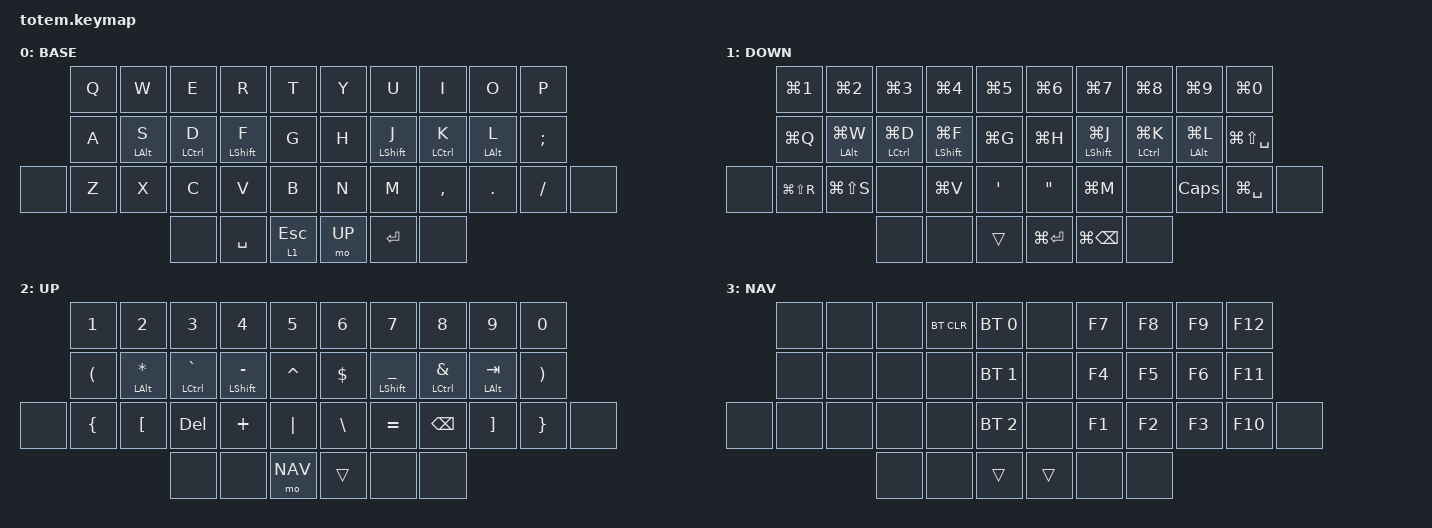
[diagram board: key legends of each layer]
//
//                                                        ▀▀▀▀▀     ▀▀▀▀▀          ▀▀█▀▀
//                                                        ▄▀▀▀▄  ▄  ▄▀▀▀▄  ▄  ▄▀▀▀▄  █  ▄▀▀▀▄
//                                                        █   █  █  █   █  █  █   █  █  █   █
//                                                         ▀▀▀   █   ▀▀▀   █   ▀▀▀   ▀   ▀▀▀
//                                                               █      ▄▄▄█▄▄▄    █   █  
//                                                               ▀      █  █  █     █▄█
//                                                             ▀▀▀▀▀    █  █  █      ▀
//                                                                      ▀  ▀  ▀
//
// ▄▄▄▄▄▄▄▄▄▄▄▄▄▄▄▄▄▄▄▄▄▄▄▄▄▄▄▄▄▄▄▄▄▄▄▄▄▄▄▄▄▄▄▄▄▄▄▄▄▄▄▄▄▄▄▄▄▄▄▄▄▄▄▄▄▄▄▄▄▄▄▄▄▄▄▄▄▄▄▄▄▄▄▄▄▄▄▄▄▄▄▄▄▄▄▄▄▄▄▄▄▄▄▄▄▄▄▄▄▄▄▄▄▄▄▄▄▄▄▄▄▄▄▄▄▄▄▄▄▄▄▄▄▄▄▄▄▄▄▄▄▄▄▄▄▄▄▄▄

#include <behaviors.dtsi>
#include <dt-bindings/zmk/bt.h>
#include <dt-bindings/zmk/keys.h>

#define BASE 0
#define DOWN 1
#define UP   2
#define NAV  3

&mt {
    quick-tap-ms = <100>;
    global-quick-tap;
    flavor = "tap-preferred";
    tapping-term-ms = <170>;
};

/ {
    //     combos {
    //            compatible = "zmk,combos";
    //            combo_esc {
    //                timeout-ms = <50>;
    //                key-positions = <0 1>;
    //                bindings = <&kp ESC>;
    //            };
    //    };

    keymap {
        compatible = "zmk,keymap";

        // ▄▄▄▄▄▄▄▄▄▄▄▄▄▄▄▄▄▄▄▄▄▄▄▄▄▄▄▄▄▄▄▄▄▄▄▄▄▄▄▄▄▄▄▄▄▄▄▄▄▄▄▄▄▄▄▄▄▄▄▄▄▄▄▄▄▄▄▄▄▄▄▄▄▄▄▄▄▄▄▄▄▄▄▄▄▄▄▄▄▄▄▄▄▄▄▄▄▄▄▄▄▄▄▄▄▄▄▄▄▄▄▄▄▄▄▄▄▄▄▄▄▄▄▄▄▄▄▄▄▄▄▄▄▄▄▄▄▄▄▄▄▄▄▄▄▄▄▄▄

        base_layer {
            // ┏━━━━━━━━━━━━━━━━━━━━━━━━━━━━━━━━━━━━━━━┓

            label = "BASE";

            // ┗━━━━━━━━━━━━━━━━━━━━━━━━━━━━━━━━━━━━━━━┛
            //             ┏━━━━━━━━━━━┳━━━━━━━━━━━┳━━━━━━━━━━━┳━━━━━━━━━━━┳━━━━━━━━━━━┓   ┏━━━━━━━━━━━┳━━━━━━━━━━━┳━━━━━━━━━━━┳━━━━━━━━━━━┳━━━━━━━━━━━┓
            //             ┃     Q     ┃     W     ┃     E     ┃     R     ┃     T     ┃   ┃     Y     ┃     U     ┃     I     ┃     O     ┃     P     ┃
            //             ┣━━━━━━━━━━━╋━━━━━━━━━━━╋━━━━━━━━━━━╋━━━━━━━━━━━╋━━━━━━━━━━━┫   ┣━━━━━━━━━━━╋━━━━━━━━━━━╋━━━━━━━━━━━╋━━━━━━━━━━━╋━━━━━━━━━━━┫
            //             ┃     A     ┃     S     ┃     D     ┃     F     ┃     G     ┃   ┃     H     ┃     J     ┃     K     ┃     L     ┃     ;     ┃
            // ┏━━━━━━━━━━━╋━━━━━━━━━━━╋━━━━━━━━━━━╋━━━━━━━━━━━╋━━━━━━━━━━━╋━━━━━━━━━━━┫   ┣━━━━━━━━━━━╋━━━━━━━━━━━╋━━━━━━━━━━━╋━━━━━━━━━━━╋━━━━━━━━━━━╋━━━━━━━━━━━┓
            // ┃           ┃     Z     ┃     X     ┃     C     ┃     V     ┃     B     ┃   ┃     N     ┃     M     ┃     ,     ┃     .     ┃     /     ┃           ┃
            // ┗━━━━━━━━━━━┻━━━━━━━━━━━┻━━━━━━━━━━━╋━━━━━━━━━━━╋━━━━━━━━━━━╋━━━━━━━━━━━┫   ┣━━━━━━━━━━━╋━━━━━━━━━━━╋━━━━━━━━━━━╋━━━━━━━━━━━┻━━━━━━━━━━━┻━━━━━━━━━━━┛
            //                                     ┃    ESC    ┃   SPACE   ┃    DOWN   ┃   ┃     UP    ┃   ENTER   ┃           ┃
            //                                     ┗━━━━━━━━━━━┻━━━━━━━━━━━┻━━━━━━━━━━━┛   ┗━━━━━━━━━━━┻━━━━━━━━━━━┻━━━━━━━━━━━┛

            bindings = <
       &kp Q  &kp W           &kp E        &kp R             &kp T        &kp Y   &kp U         &kp I        &kp O       &kp P
       &kp A  &mt LEFT_ALT S  &mt LCTRL D  &mt LEFT_SHIFT F  &kp G        &kp H   &mt LSHIFT J  &mt LCTRL K  &mt LALT L  &kp SEMI
&none  &kp Z  &kp X           &kp C        &kp V             &kp B        &kp N   &kp M         &kp COMMA    &kp DOT     &kp FSLH  &none
                              &none        &kp SPACE         &lt 1 ESC    &mo UP  &kp RET       &none
            >;
        };

        // ▄▄▄▄▄▄▄▄▄▄▄▄▄▄▄▄▄▄▄▄▄▄▄▄▄▄▄▄▄▄▄▄▄▄▄▄▄▄▄▄▄▄▄▄▄▄▄▄▄▄▄▄▄▄▄▄▄▄▄▄▄▄▄▄▄▄▄▄▄▄▄▄▄▄▄▄▄▄▄▄▄▄▄▄▄▄▄▄▄▄▄▄▄▄▄▄▄▄▄▄▄▄▄▄▄▄▄▄▄▄▄▄▄▄▄▄▄▄▄▄▄▄▄▄▄▄▄▄▄▄▄▄▄▄▄▄▄▄▄▄▄▄▄▄▄▄▄▄▄

        down_layer {
            // ┏━━━━━━━━━━━━━━━━━━━━━━━━━━━━━━━━━━━━━━━┓

            label = "DOWN";

            // ┗━━━━━━━━━━━━━━━━━━━━━━━━━━━━━━━━━━━━━━━┛
            //             ┏━━━━━━━━━━━┳━━━━━━━━━━━┳━━━━━━━━━━━┳━━━━━━━━━━━┳━━━━━━━━━━━┓   ┏━━━━━━━━━━━┳━━━━━━━━━━━┳━━━━━━━━━━━┳━━━━━━━━━━━┳━━━━━━━━━━━┓
            //             ┃           ┃           ┃     UP    ┃           ┃     {     ┃   ┃     }     ┃     7     ┃     8     ┃     9     ┃     +     ┃
            //             ┣━━━━━━━━━━━╋━━━━━━━━━━━╋━━━━━━━━━━━╋━━━━━━━━━━━╋━━━━━━━━━━━┫   ┣━━━━━━━━━━━╋━━━━━━━━━━━╋━━━━━━━━━━━╋━━━━━━━━━━━╋━━━━━━━━━━━┫
            //             ┃   SHIFT   ┃   LEFT    ┃    DOWN   ┃   RIGHT   ┃     [     ┃   ┃     ]     ┃     4     ┃     5     ┃     6     ┃     -     ┃
            // ┏━━━━━━━━━━━╋━━━━━━━━━━━╋━━━━━━━━━━━╋━━━━━━━━━━━╋━━━━━━━━━━━╋━━━━━━━━━━━┫   ┣━━━━━━━━━━━╋━━━━━━━━━━━╋━━━━━━━━━━━╋━━━━━━━━━━━╋━━━━━━━━━━━╋━━━━━━━━━━━┓
            // ┃           ┃           ┃   P UP    ┃  C LOCK   ┃  P DOWN   ┃     (     ┃   ┃     )     ┃     1     ┃     2     ┃     3     ┃     *     ┃           ┃
            // ┗━━━━━━━━━━━┻━━━━━━━━━━━┻━━━━━━━━━━━╋━━━━━━━━━━━╋━━━━━━━━━━━╋━━━━━━━━━━━┫   ┣━━━━━━━━━━━╋━━━━━━━━━━━╋━━━━━━━━━━━╋━━━━━━━━━━━┻━━━━━━━━━━━┻━━━━━━━━━━━┛
            //                                     ┃           ┃    TAB    ┃    SPC    ┃   ┃    DEL    ┃     0     ┃           ┃
            //                                     ┗━━━━━━━━━━━┻━━━━━━━━━━━┻━━━━━━━━━━━┛   ┗━━━━━━━━━━━┻━━━━━━━━━━━┻━━━━━━━━━━━┛

            bindings = <
       &kp LG(N1)     &kp LG(N2)      &kp LG(N3)       &kp LG(N4)       &kp LG(N5)    &kp LG(N6)         &kp LG(N7)       &kp LG(N8)       &kp LG(N9)      &kp LG(N0)
       &kp LG(Q)      &mt LALT LG(W)  &mt LCTRL LG(D)  &mt LSHFT LG(F)  &kp LG(G)     &kp LG(H)          &mt LSHFT LG(J)  &mt LCTRL LG(K)  &mt LALT LG(L)  &kp LG(LS(SPACE))
&none  &kp LG(LS(R))  &kp LG(LS(S))   &none            &kp LG(V)        &kp SQT       &kp DOUBLE_QUOTES  &kp LG(M)        &none            &kp CAPS        &kp LG(SPACE)      &none
                                      &none            &none            &trans        &kp LG(RET)        &kp LG(BSPC)     &none
            >;
        };

        // ▄▄▄▄▄▄▄▄▄▄▄▄▄▄▄▄▄▄▄▄▄▄▄▄▄▄▄▄▄▄▄▄▄▄▄▄▄▄▄▄▄▄▄▄▄▄▄▄▄▄▄▄▄▄▄▄▄▄▄▄▄▄▄▄▄▄▄▄▄▄▄▄▄▄▄▄▄▄▄▄▄▄▄▄▄▄▄▄▄▄▄▄▄▄▄▄▄▄▄▄▄▄▄▄▄▄▄▄▄▄▄▄▄▄▄▄▄▄▄▄▄▄▄▄▄▄▄▄▄▄▄▄▄▄▄▄▄▄▄▄▄▄▄▄▄▄▄▄▄

        up_layer {
            // ┏━━━━━━━━━━━━━━━━━━━━━━━━━━━━━━━━━━━━━━━┓

            label = "UP";

            // ┗━━━━━━━━━━━━━━━━━━━━━━━━━━━━━━━━━━━━━━━┛
            //             ┏━━━━━━━━━━━┳━━━━━━━━━━━┳━━━━━━━━━━━┳━━━━━━━━━━━┳━━━━━━━━━━━┓   ┏━━━━━━━━━━━┳━━━━━━━━━━━┳━━━━━━━━━━━┳━━━━━━━━━━━┳━━━━━━━━━━━┓
            //             ┃     !     ┃     @     ┃     #     ┃     $     ┃     %     ┃   ┃     ˆ     ┃     &     ┃     Ü     ┃     '     ┃     "     ┃
            //             ┣━━━━━━━━━━━╋━━━━━━━━━━━╋━━━━━━━━━━━╋━━━━━━━━━━━╋━━━━━━━━━━━┫   ┣━━━━━━━━━━━╋━━━━━━━━━━━╋━━━━━━━━━━━╋━━━━━━━━━━━╋━━━━━━━━━━━┫
            //             ┃     Ä     ┃           ┃    SZ     ┃           ┃           ┃   ┃   MUTE    ┃   YEN     ┃   EURO    ┃  POUND    ┃     Ö     ┃
            // ┏━━━━━━━━━━━╋━━━━━━━━━━━╋━━━━━━━━━━━╋━━━━━━━━━━━╋━━━━━━━━━━━╋━━━━━━━━━━━┫   ┣━━━━━━━━━━━╋━━━━━━━━━━━╋━━━━━━━━━━━╋━━━━━━━━━━━╋━━━━━━━━━━━╋━━━━━━━━━━━┓
            // ┃           ┃  EMAIL1   ┃  EMAIL2   ┃           ┃           ┃           ┃   ┃   VOL-    ┃   VOL+    ┃   LAST    ┃   NEXT    ┃     \     ┃           ┃
            // ┗━━━━━━━━━━━┻━━━━━━━━━━━┻━━━━━━━━━━━╋━━━━━━━━━━━╋━━━━━━━━━━━╋━━━━━━━━━━━┫   ┣━━━━━━━━━━━╋━━━━━━━━━━━╋━━━━━━━━━━━╋━━━━━━━━━━━┻━━━━━━━━━━━┻━━━━━━━━━━━┛
            //                                     ┃           ┃    GIF    ┃    ADJ    ┃   ┃           ┃           ┃           ┃
            //                                     ┗━━━━━━━━━━━┻━━━━━━━━━━━┻━━━━━━━━━━━┛   ┗━━━━━━━━━━━┻━━━━━━━━━━━┻━━━━━━━━━━━┛

            bindings = <
       &kp N1    &kp N2             &kp N3           &kp N4           &kp N5       &kp N6         &kp N7                &kp N8          &kp N9        &kp N0
       &kp LPAR  &mt LALT ASTERISK  &mt LCTRL GRAVE  &mt LSHFT MINUS  &kp CARET    &kp DOLLAR     &mt LSHFT UNDERSCORE  &mt LCTRL AMPS  &mt LALT TAB  &kp RPAR
&none  &kp LBRC  &kp LBKT           &kp DEL          &kp PLUS         &kp PIPE     &kp BACKSLASH  &kp EQUAL             &kp BACKSPACE   &kp RBKT      &kp RBRC  &none
                                    &none            &none            &mo NAV      &trans         &none                 &none
            >;
        };

        // ▄▄▄▄▄▄▄▄▄▄▄▄▄▄▄▄▄▄▄▄▄▄▄▄▄▄▄▄▄▄▄▄▄▄▄▄▄▄▄▄▄▄▄▄▄▄▄▄▄▄▄▄▄▄▄▄▄▄▄▄▄▄▄▄▄▄▄▄▄▄▄▄▄▄▄▄▄▄▄▄▄▄▄▄▄▄▄▄▄▄▄▄▄▄▄▄▄▄▄▄▄▄▄▄▄▄▄▄▄▄▄▄▄▄▄▄▄▄▄▄▄▄▄▄▄▄▄▄▄▄▄▄▄▄▄▄▄▄▄▄▄▄▄▄▄▄▄▄▄

        nav_layer {
            // ┏━━━━━━━━━━━━━━━━━━━━━━━━━━━━━━━━━━━━━━━┓

            label = "NAV";

            // ┗━━━━━━━━━━━━━━━━━━━━━━━━━━━━━━━━━━━━━━━┛
            //             ┏━━━━━━━━━━━┳━━━━━━━━━━━┳━━━━━━━━━━━┳━━━━━━━━━━━┳━━━━━━━━━━━┓   ┏━━━━━━━━━━━┳━━━━━━━━━━━┳━━━━━━━━━━━┳━━━━━━━━━━━┳━━━━━━━━━━━┓
            //             ┃   RESET   ┃ BT CLEAR  ┃  OUT TOG  ┃           ┃           ┃   ┃           ┃    F7     ┃    F8     ┃    F9     ┃    F12    ┃
            //             ┣━━━━━━━━━━━╋━━━━━━━━━━━╋━━━━━━━━━━━╋━━━━━━━━━━━╋━━━━━━━━━━━┫   ┣━━━━━━━━━━━╋━━━━━━━━━━━╋━━━━━━━━━━━╋━━━━━━━━━━━╋━━━━━━━━━━━┫
            //             ┃ BOOTLOAD  ┃ BT NEXT   ┃           ┃           ┃           ┃   ┃           ┃    F4     ┃    F5     ┃    F6     ┃    F11    ┃
            // ┏━━━━━━━━━━━╋━━━━━━━━━━━╋━━━━━━━━━━━╋━━━━━━━━━━━╋━━━━━━━━━━━╋━━━━━━━━━━━┫   ┣━━━━━━━━━━━╋━━━━━━━━━━━╋━━━━━━━━━━━╋━━━━━━━━━━━╋━━━━━━━━━━━╋━━━━━━━━━━━┓
            // ┃           ┃           ┃ BT PREV   ┃           ┃           ┃           ┃   ┃           ┃    F1     ┃    F2     ┃    F3     ┃    F10    ┃           ┃
            // ┗━━━━━━━━━━━┻━━━━━━━━━━━┻━━━━━━━━━━━╋━━━━━━━━━━━╋━━━━━━━━━━━╋━━━━━━━━━━━┫   ┣━━━━━━━━━━━╋━━━━━━━━━━━╋━━━━━━━━━━━╋━━━━━━━━━━━┻━━━━━━━━━━━┻━━━━━━━━━━━┛
            //                                     ┃           ┃           ┃           ┃   ┃           ┃           ┃           ┃
            //                                     ┗━━━━━━━━━━━┻━━━━━━━━━━━┻━━━━━━━━━━━┛   ┗━━━━━━━━━━━┻━━━━━━━━━━━┻━━━━━━━━━━━┛

            bindings = <
       &none  &none  &none  &bt BT_CLR  &bt BT_SEL 0    &none   &kp F7  &kp F8  &kp F9  &kp F12
       &none  &none  &none  &none       &bt BT_SEL 1    &none   &kp F4  &kp F5  &kp F6  &kp F11
&none  &none  &none  &none  &none       &bt BT_SEL 2    &none   &kp F1  &kp F2  &kp F3  &kp F10  &none
                     &none  &none       &trans          &trans  &none   &none
            >;
        };
    };
};
